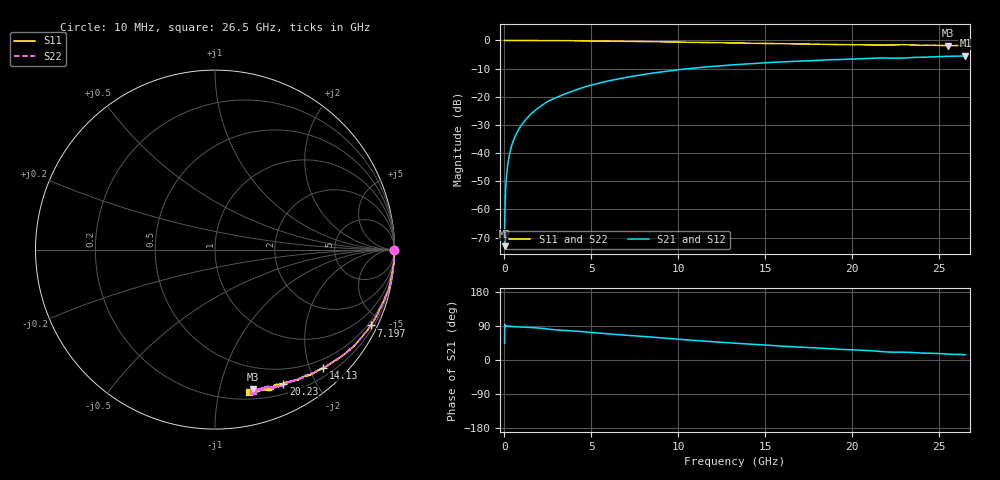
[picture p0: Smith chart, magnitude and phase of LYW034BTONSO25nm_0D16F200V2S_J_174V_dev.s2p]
!Keysight Technologies,N5222B,MY61253708,A.15.00.15
!Date: Wednesday, June 19, 2024 10:26:04
!Correction: S11(C  2-Port  )
!S21(C  2-Port  )
!S12(C  2-Port  )
!S22(C  2-Port  )
!S2P File: Measurements: S11, S21, S12, S22:
# Hz S  RI  R 50
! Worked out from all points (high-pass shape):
!   2651 points, 10 MHz to 26.5 GHz, reference 50 ohm
!   highest |S21| = -5.45 dB at 26.5 GHz (marker M1); lowest = -73.0 dB at 10 MHz (marker M2)
!   |S21| within 3 dB of the highest: 13.63 GHz to end of sweep
!   lowest |S11| = -1.9 dB at 25.5 GHz (marker M3), VSWR 9.28, Z = 14.3 - j63.4 ohm
!   |S11| at or under -10 dB: nowhere
!   |S22| runs from -1.8 to 0.0 dB; largest |S21 - S12| = 0.0066
!   S11 on the Smith chart (normalised r, x): 10 MHz: open; 7.197 GHz: 0.35, -4.31; 14.13 GHz: 0.34, -2.22; 20.23 GHz: 0.32, -1.59; 26.5 GHz: 0.26, -1.24
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1e7  0.9986 -0.00327  0.00016 0.000155  -7.08e-05 0.000116  0.9983 -0.00171
7.997358e7  0.9999 -0.00564  1.92e-05 0.00258  3.04e-05 0.00258  0.9994 -0.00512
1.499472e8  1 -0.0106  4.72e-05 0.00485  5.28e-05 0.00489  0.9997 -0.00988
1.799358e8  1 -0.0117  9.7e-05 0.00584  8.13e-05 0.00586  0.9997 -0.0111
2.29917e8  0.9997 -0.0156  0.000106 0.00745  0.000105 0.00748  0.9994 -0.0145
3.19883e8  0.9996 -0.0212  0.000278 0.0104  0.000195 0.0104  0.9996 -0.0198
4.49834e8  0.999 -0.0302  0.000437 0.0145  0.000414 0.0146  0.9988 -0.0293
5.997774e8  0.9988 -0.0392  0.000768 0.0194  0.000764 0.0194  0.9989 -0.0381
7.897057e8  0.9983 -0.0519  0.00126 0.0255  0.00126 0.0255  0.9978 -0.0507
1.089592e9  0.9973 -0.0722  0.00213 0.0349  0.00217 0.035  0.9963 -0.0699
1.43946e9  0.9911 -0.0953  0.00319 0.0465  0.00322 0.0465  0.9935 -0.0912
2.319128e9  0.9826 -0.1488  0.00939 0.0758  0.00952 0.0759  0.984 -0.1484
4.428332e9  0.9447 -0.2766  0.0368 0.1389  0.037 0.1392  0.947 -0.2724
7.197287e9  0.8673 -0.4228  0.0966 0.2047  0.0974 0.2045  0.8697 -0.4195
8.846664e9  0.8093 -0.4976  0.1403 0.2336  0.1411 0.2337  0.8125 -0.4935
1.3255e10  0.6367 -0.6395  0.2651 0.2598  0.2666 0.2592  0.6432 -0.6357
1.413467e10  0.6017 -0.6611  0.2881 0.257  0.2894 0.257  0.6098 -0.6545
1.767333e10  0.4664 -0.7217  0.3708 0.2346  0.3733 0.2329  0.4804 -0.7171
2.023237e10  0.3808 -0.7462  0.4221 0.2081  0.4234 0.2062  0.3977 -0.7437
2.209166e10  0.3312 -0.7574  0.4543 0.1748  0.4554 0.1722  0.3295 -0.7624
2.550038e10  0.2114 -0.7773  0.5044 0.1394  0.5053 0.1393  0.2361 -0.7792
2.65e10  0.1921 -0.7918  0.518 0.1286  0.5169 0.1248  0.2095 -0.7896
